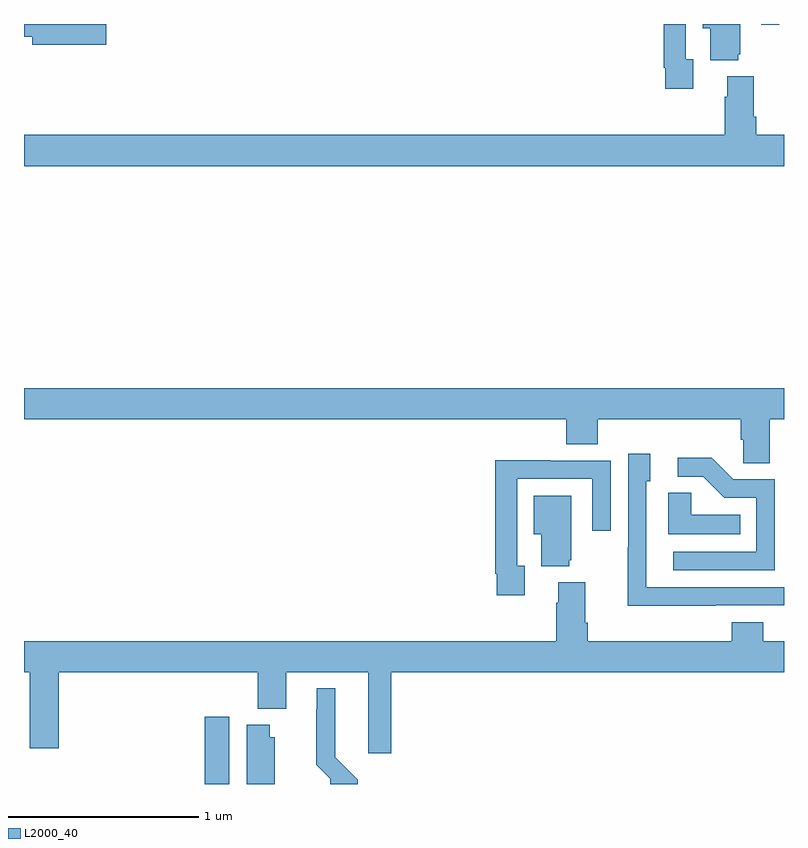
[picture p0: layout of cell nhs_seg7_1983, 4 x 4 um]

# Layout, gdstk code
import gdstk
lib = gdstk.Library(unit=1e-6, precision=1e-09)
def R(c, l, rs):  # rectangles x0, y0, x1, y1
    for r in rs: c.add(gdstk.rectangle(r[:2], r[2:], *l))
def P(c, l, *ps):  # polygons
    for p in ps: c.add(gdstk.Polygon(p, *l))
L2000_40 = (2000, 40)

nhs_seg7_1983 = lib.new_cell('nhs_seg7_1983')
R(nhs_seg7_1983, L2000_40, [(243.95,1028,244.081,1028.353), (246.879,1031.997,246.975,1032)])
P(nhs_seg7_1983, L2000_40, [(243.433,1032),(243,1032),(243,1031.932),(243.044,1031.932),(243.044,1031.89),(243.433,1031.89)],
  [(246.758,1031.841),(246.769,1031.841),(246.769,1032),(246.572,1032),(246.572,1031.978),(246.611,1031.978),(246.611,1031.81),(246.758,1031.81)],
  [(246.523,1031.814),(246.483,1031.814),(246.483,1032),(246.367,1032),(246.367,1031.77),(246.375,1031.77),(246.375,1031.658),(246.523,1031.658)],
  [(247,1031.416),(246.854,1031.416),(246.854,1031.512),(246.841,1031.512),(246.841,1031.725),(246.701,1031.725),(246.701,1031.618),(246.689,1031.618),(246.689,1031.416),(243,1031.416),(243,1031.252),(247,1031.252)],
  [(246.925,1029.92),(247,1029.92),(247,1030.084),(243,1030.084),(243,1029.92),(245.855,1029.92),(245.855,1029.787),(246.02,1029.787),(246.02,1029.92),(246.773,1029.92),(246.773,1029.811),(246.786,1029.811),(246.786,1029.688),(246.925,1029.688)],
  [(246.641,1028.94),(247,1028.94),(247,1029.036),(246.276,1029.036),(246.276,1029.594),(246.295,1029.594),(246.295,1029.739),(246.18,1029.739),(246.18,1029.245),(246.178,1029.245),(246.178,1028.939),(246.641,1028.939)],
  [(246.951,1029.603),(246.732,1029.603),(246.619,1029.716),(246.441,1029.716),(246.441,1029.618),(246.575,1029.618),(246.686,1029.507),(246.855,1029.507),(246.855,1029.222),(246.417,1029.222),(246.417,1029.126),(246.951,1029.126)],
  [(245.635,1029.15),(245.595,1029.15),(245.595,1029.606),(245.991,1029.606),(245.991,1029.333),(246.087,1029.333),(246.087,1029.702),(245.771,1029.702),(245.771,1029.704),(245.479,1029.704),(245.479,1029.106),(245.487,1029.106),(245.487,1028.994),(245.635,1028.994)],
  [(246.77,1029.418),(246.513,1029.418),(246.513,1029.533),(246.392,1029.533),(246.392,1029.314),(246.77,1029.314)],
  [(245.87,1029.177),(245.881,1029.177),(245.881,1029.517),(245.684,1029.517),(245.684,1029.314),(245.723,1029.314),(245.723,1029.146),(245.87,1029.146)],
  [(246.725,1028.851),(246.725,1028.752),(245.966,1028.752),(245.966,1028.848),(245.953,1028.848),(245.953,1029.061),(245.813,1029.061),(245.813,1028.954),(245.801,1028.954),(245.801,1028.752),(243,1028.752),(243,1028.588),(243.029,1028.588),(243.029,1028.187),(243.182,1028.187),(243.182,1028.588),(244.229,1028.588),(244.229,1028.396),(244.381,1028.396),(244.381,1028.588),(244.811,1028.588),(244.811,1028.163),(244.934,1028.163),(244.934,1028.588),(247,1028.588),(247,1028.752),(246.89,1028.752),(246.89,1028.851)],
  [(244.757,1028.022),(244.639,1028.14),(244.639,1028.503),(244.541,1028.503),(244.541,1028.393),(244.537,1028.393),(244.537,1028.102),(244.611,1028.028),(244.611,1028),(244.757,1028)],
  [(244.321,1028.247),(244.294,1028.247),(244.294,1028.311),(244.172,1028.311),(244.172,1028),(244.321,1028)])

lib.write_gds('nhs_seg7_1983.gds')
